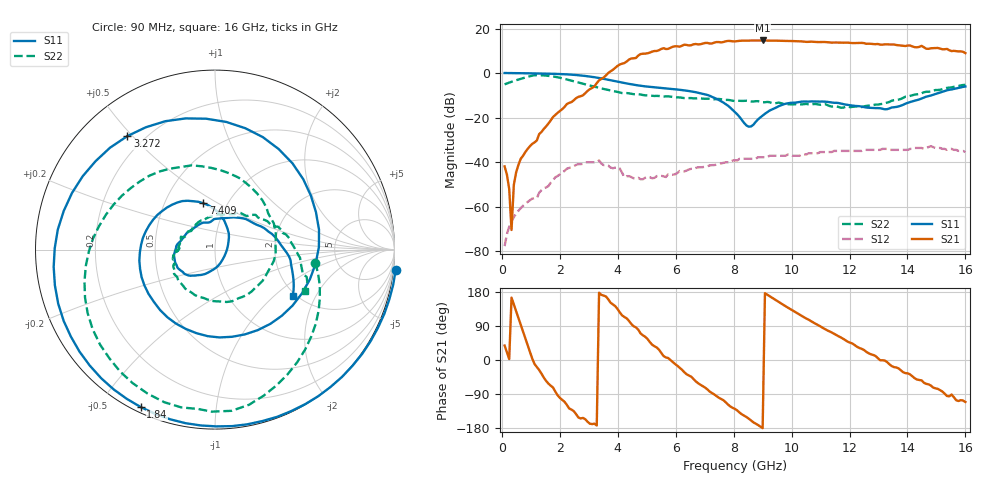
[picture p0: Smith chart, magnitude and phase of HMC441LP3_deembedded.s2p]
!Hittite Microwave Corporation
!12 Elizabeth Drive
!Chelmsford, MA 01824
!Tel: 978-250-3343
!Fax: 978-250-3373
!Device: HMC441LP3, 6.5-13.5 GHz GaAs PHEMT MMIc Medium Power Amplifier in Leadless LP3 SMT Package
!Misc: Vdd1 = Vdd2 = +5V, Vgg1 = vgg2 = Open, Room
# MHZ S MA R 50
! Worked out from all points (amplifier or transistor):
!   201 points, 90 MHz to 16 GHz, reference 50 ohm
!   highest |S21| = 14.7 dB at 9 GHz (marker M1)
!   |S21| within 3 dB of that: 5.867 GHz to 14.25 GHz (8.379 GHz wide, 83.3 % of centre) (the widest 1 of 2)
!   unconditionally stable (mu >= 1): 874 MHz to end of sweep
!   at 2.715 GHz: K = 23.62, MAG = -1.5 dB, |S12| = -40.8 dB
!   at 8.045 GHz: K = 8.09, MAG = 14.7 dB, |S12| = -39.2 dB
!   at 16 GHz: K = 5.60, MAG = 11.8 dB, |S12| = -35.4 dB
!   S11 on the Smith chart (normalised r, x): 90 MHz: -2, -18; 1.84 GHz: 0.02, -0.63; 3.272 GHz: 0.14, +0.48; 7.409 GHz: 0.77, +0.43; 16 GHz: 1.91, -1.34
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90  1.013 -6.4  0.008072 38.2  0.0001304 75.2  0.563 -7.4
328.65  1.009 -20.8  0.0003011 164.6  0.0004711 11.9  0.643 -24.7
408.2  1.007 -25.7  0.003104 146.7  0.0005854 -9.2  0.67 -30.5
646.85  1.003 -40.2  0.012 93.1  0.0009318 -72.5  0.75 -48.0
1840.1  0.97 -115.2  0.116 -83.4  0.004596 100.3  0.831 -140.4
2794.7  0.883 172.8  0.32 -152.8  0.009212 3.3  0.581 143.9
3272  0.799 127.7  0.601 -172.8  0.01 -52.2  0.487 105.5
4306.15  0.59 10.8  1.838 109.8  0.004879 -151.1  0.359 24.3
4783.45  0.524 -44.7  2.703 70.2  0.004169 177.2  0.333 -11.5
5419.85  0.471 -110.2  3.298 27.2  0.005036 144.9  0.309 -54.1
6294.9  0.413 176.5  4.38 -32.2  0.006239 106.7  0.277 -103.1
7408.6  0.266 104.0  5.032 -95.4  0.008858 63.6  0.263 -146.7
8045  0.134 58.2  5.204 -129.2  0.011 41.3  0.238 -159.6
8999.6  0.112 -94.9  5.459 -179.9  0.013 7.9  0.224 -174.7
9954.2  0.216 -140.8  5.321 134.4  0.015 -23.6  0.201 178.7
10749.7  0.233 -162.6  5.108 98.9  0.016 -42.8  0.203 169.5
11545.2  0.217 175.3  4.91 65.5  0.018 -65.4  0.181 146.0
12340.7  0.182 149.2  4.8 31.7  0.018 -86.0  0.178 112.0
13374.85  0.162 95.5  4.437 -11.2  0.019 -114.8  0.227 60.9
14488.55  0.271 30.6  4.131 -53.8  0.021 -137.7  0.355 21.3
15363.6  0.414 -5.2  3.522 -95.0  0.019 -163.2  0.469 -4.4
16000  0.505 -31.1  2.835 -110.7  0.017 -176.6  0.549 -24.7
